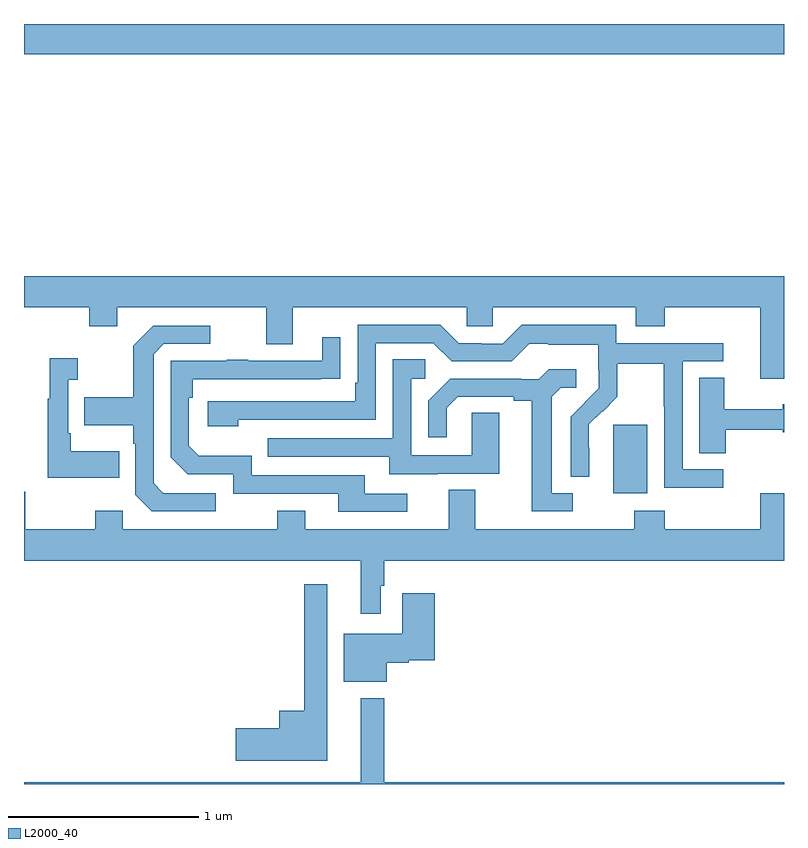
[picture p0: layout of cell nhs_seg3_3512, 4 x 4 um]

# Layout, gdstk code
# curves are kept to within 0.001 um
import gdstk
lib = gdstk.Library(unit=1e-6, precision=1e-09)
def R(c, l, rs):  # rectangles x0, y0, x1, y1
    for r in rs: c.add(gdstk.rectangle(r[:2], r[2:], *l))
def P(c, l, *ps):  # polygons
    for p in ps: c.add(gdstk.Polygon(p, *l))
L2000_40 = (2000, 40)

nhs_seg3_3512 = lib.new_cell('nhs_seg3_3512')
R(nhs_seg3_3512, L2000_40, [(296.102,707.93,296.281,708.291), (293,710.24,297,710.4)])
P(nhs_seg3_3512, L2000_40, [(297,709.072),(293,709.072),(293,708.908),(293.344,708.908),(293.344,708.809),(293.491,708.809),(293.491,708.908),(294.275,708.908),(294.275,708.714),(294.415,708.714),(294.415,708.908),(295.329,708.908),(295.329,708.81),(295.467,708.81),(295.467,708.908),(296.219,708.908),(296.219,708.809),(296.372,708.809),(296.372,708.908),(296.876,708.908),(296.876,708.534),(297,708.534)],
  [(296.68,708.057),(296.466,708.057),(296.466,708.624),(296.68,708.624),(296.68,708.72),(296.118,708.72),(296.118,708.817),(295.621,708.817),(295.521,708.717),(295.406,708.717),(295.406,708.72),(295.287,708.72),(295.191,708.816),(294.756,708.816),(294.756,708.511),(294.743,708.511),(294.743,708.414),(293.967,708.414),(293.967,708.284),(294.128,708.284),(294.128,708.318),(294.852,708.318),(294.852,708.72),(295.155,708.72),(295.251,708.624),(295.566,708.624),(295.659,708.717),(295.759,708.717),(295.759,708.713),(296.022,708.713),(296.022,708.579),(296.024,708.579),(296.024,708.482),(295.878,708.334),(295.878,708.016),(295.974,708.016),(295.973,708.293),(296.043,708.363),(296.046,708.36),(296.123,708.437),(296.123,708.612),(296.368,708.612),(296.368,708.388),(296.37,708.388),(296.37,707.959),(296.68,707.959)],
  [(294.01,707.931),(293.733,707.931),(293.682,707.982),(293.682,708.663),(293.736,708.717),(293.98,708.717),(293.98,708.813),(293.679,708.813),(293.574,708.707),(293.574,708.435),(293.317,708.435),(293.317,708.287),(293.574,708.287),(293.574,708.191),(293.586,708.191),(293.586,707.922),(293.673,707.835),(294.01,707.835)],
  [(295.018,707.928),(294.793,707.928),(294.793,708.024),(294.198,708.024),(294.198,708.127),(293.921,708.127),(293.868,708.18),(293.868,708.434),(293.888,708.434),(293.888,708.531),(294.665,708.532),(294.665,708.751),(294.569,708.751),(294.569,708.627),(294.179,708.627),(294.179,708.632),(294.067,708.632),(294.067,708.627),(293.772,708.627),(293.772,708.12),(293.862,708.03),(294.102,708.03),(294.102,707.928),(294.653,707.928),(294.653,707.832),(295.018,707.832)],
  [(293.501,708.151),(293.245,708.151),(293.245,708.247),(293.232,708.247),(293.232,708.527),(293.284,708.527),(293.284,708.64),(293.135,708.64),(293.135,708.427),(293.124,708.427),(293.124,708.011),(293.501,708.011)],
  [(295.177,708.033),(295.501,708.033),(295.501,708.353),(295.356,708.353),(295.356,708.129),(295.038,708.129),(295.038,708.534),(295.111,708.534),(295.111,708.635),(294.942,708.635),(294.942,708.219),(294.283,708.219),(294.283,708.123),(294.923,708.123),(294.923,708.029),(295.177,708.029)],
  [(295.888,707.931),(295.777,707.931),(295.777,708.439),(295.824,708.486),(295.906,708.486),(295.906,708.583),(295.762,708.583),(295.71,708.531),(295.616,708.531),(295.616,708.534),(295.244,708.534),(295.128,708.418),(295.128,708.225),(295.225,708.225),(295.225,708.381),(295.282,708.438),(295.577,708.438),(295.577,708.416),(295.673,708.416),(295.673,707.835),(295.888,707.835)],
  [(296.694,708.264),(296.994,708.264),(296.994,708.251),(297,708.251),(297,708.398),(296.994,708.398),(296.994,708.373),(296.686,708.373),(296.686,708.539),(296.555,708.539),(296.555,708.142),(296.694,708.142)],
  [(294.877,707.444),(294.895,707.444),(294.895,707.576),(297,707.576),(297,707.929),(296.876,707.929),(296.876,707.74),(296.372,707.74),(296.372,707.839),(296.212,707.839),(296.212,707.74),(295.375,707.74),(295.375,707.948),(295.235,707.948),(295.235,707.74),(294.481,707.74),(294.481,707.839),(294.334,707.839),(294.334,707.74),(293.52,707.74),(293.52,707.839),(293.374,707.839),(293.374,707.74),(293.007,707.74),(293.007,707.939),(293,707.939),(293,707.576),(294.773,707.576),(294.773,707.295),(294.877,707.295)],
  [(294.595,707.452),(294.474,707.452),(294.474,706.786),(294.344,706.786),(294.344,706.694),(294.114,706.694),(294.114,706.523),(294.595,706.523)],
  [(294.91,707.039),(295.026,707.039),(295.026,707.051),(295.163,707.051),(295.163,707.404),(294.992,707.404),(294.992,707.191),(294.683,707.191),(294.683,706.937),(294.91,706.937)],
  [(297,706.408),(294.895,706.408),(294.895,706.852),(294.773,706.852),(294.773,706.408),(293,706.408),(293,706.4),(297,706.4)])

lib.write_gds('nhs_seg3_3512.gds')
